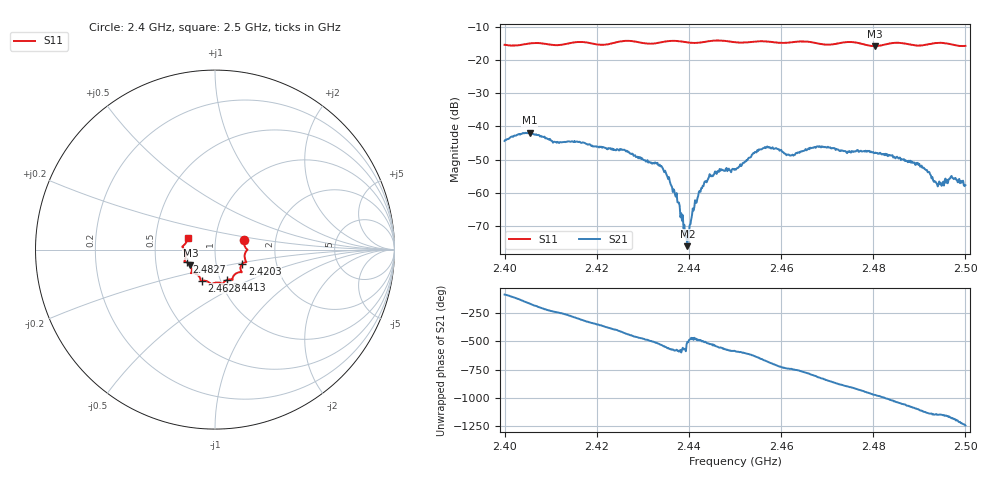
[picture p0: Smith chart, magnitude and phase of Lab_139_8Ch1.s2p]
# Hz S RI R 50
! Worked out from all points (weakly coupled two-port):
!   601 points, 2.4 GHz to 2.5 GHz, reference 50 ohm
!   highest |S21| = -41.89 dB at 2.4055 GHz (marker M1); lowest = -76.1 dB at 2.4397 GHz (marker M2)
!   lowest |S11| = -15.8 dB at 2.4803 GHz (marker M3), VSWR 1.39, Z = 37.4 - j6.76 ohm
!   |S11| at or under -10 dB: start of sweep to end of sweep
!   S12 and S22 are empty: the file has one direction only
!   S11 on the Smith chart (normalised r, x): 2.4 GHz: 1.38, +0.15; 2.4203 GHz: 1.34, -0.22; 2.4413 GHz: 1.08, -0.38; 2.4628 GHz: 0.82, -0.29; 2.4827 GHz: 0.72, -0.10; 2.5 GHz: 0.73, +0.10
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2.4e9  0.1621 0.0529  0.000298 -0.00604  0 0  0 0
2.4055e9  0.1785 0.00186  -0.00786 -0.00169  0 0  0 0
2.416667e9  0.1743 -0.0697  0.00356 0.00436  0 0  0 0
2.420333e9  0.1521 -0.0794  0.00488 0.0007  0 0  0 0
2.433333e9  0.0999 -0.1522  -0.00246 -0.000885  0 0  0 0
2.435333e9  0.0979 -0.1662  -0.00163 0.000641  0 0  0 0
2.437167e9  0.0976 -0.1687  -0.000678 0.000549  0 0  0 0
2.439167e9  0.0879 -0.1656  -0.000188 0.000107  0 0  0 0
2.439667e9  0.0836 -0.1651  -0.000129 -8.93e-05  0 0  0 0
2.441333e9  0.0671 -0.1688  -0.000382 -0.000672  0 0  0 0
2.4445e9  0.045 -0.1883  -0.00184 -0.000491  0 0  0 0
2.45e9  0.0246 -0.1844  -0.00157 0.00167  0 0  0 0
2.4565e9  -0.0219 -0.1908  0.00312 0.00375  0 0  0 0
2.462833e9  -0.0719 -0.1733  0.00325 -0.00181  0 0  0 0
2.466667e9  -0.0804 -0.1678  0.00117 -0.00458  0 0  0 0
2.480333e9  -0.1368 -0.0879  -0.00114 0.00379  0 0  0 0
2.482667e9  -0.1576 -0.0706  0.000821 0.00378  0 0  0 0
2.483333e9  -0.163 -0.0684  0.00128 0.00352  0 0  0 0
2.49e9  -0.1645 -0.0215  0.00245 -0.00121  0 0  0 0
2.493667e9  -0.1809 0.0135  0.00065 -0.00125  0 0  0 0
2.497333e9  -0.1677 0.0304  -0.000415 -0.0016  0 0  0 0
2.5e9  -0.1508 0.0644  -0.00125 -0.000377  0 0  0 0
